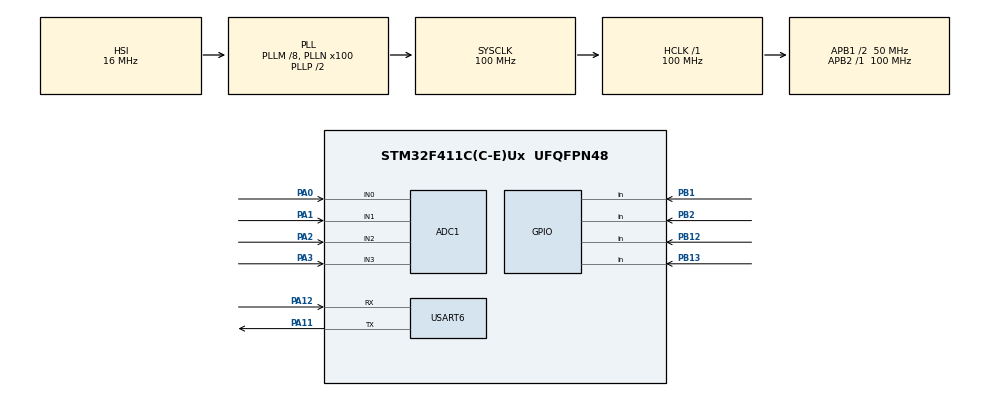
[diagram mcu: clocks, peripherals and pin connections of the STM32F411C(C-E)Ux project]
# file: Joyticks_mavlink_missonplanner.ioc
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ADC1.Channel-0\#ChannelRegularConversion=ADC_CHANNEL_0
ADC1.Channel-1\#ChannelRegularConversion=ADC_CHANNEL_1
ADC1.Channel-2\#ChannelRegularConversion=ADC_CHANNEL_2
ADC1.Channel-3\#ChannelRegularConversion=ADC_CHANNEL_3
ADC1.ContinuousConvMode=ENABLE
ADC1.DMAContinuousRequests=ENABLE
ADC1.NbrOfConversion=4
ADC1.NbrOfConversionFlag=1
ADC1.Rank-0\#ChannelRegularConversion=1
ADC1.Rank-1\#ChannelRegularConversion=2
ADC1.Rank-2\#ChannelRegularConversion=3
ADC1.Rank-3\#ChannelRegularConversion=4
ADC1.SamplingTime-0\#ChannelRegularConversion=ADC_SAMPLETIME_480CYCLES
ADC1.SamplingTime-1\#ChannelRegularConversion=ADC_SAMPLETIME_480CYCLES
ADC1.SamplingTime-2\#ChannelRegularConversion=ADC_SAMPLETIME_480CYCLES
ADC1.SamplingTime-3\#ChannelRegularConversion=ADC_SAMPLETIME_480CYCLES
ADC1.master=1
Dma.ADC1.0.Direction=DMA_PERIPH_TO_MEMORY
Dma.ADC1.0.FIFOMode=DMA_FIFOMODE_DISABLE
Dma.ADC1.0.Instance=DMA2_Stream0
Dma.ADC1.0.MemDataAlignment=DMA_MDATAALIGN_HALFWORD
Dma.ADC1.0.MemInc=DMA_MINC_ENABLE
Dma.ADC1.0.Mode=DMA_CIRCULAR
Dma.ADC1.0.PeriphDataAlignment=DMA_PDATAALIGN_HALFWORD
Dma.ADC1.0.PeriphInc=DMA_PINC_DISABLE
Dma.ADC1.0.Priority=DMA_PRIORITY_LOW
Dma.Request0=ADC1
Dma.Request1=USART6_TX
Dma.USART6_TX.1.Direction=DMA_MEMORY_TO_PERIPH
Dma.USART6_TX.1.FIFOMode=DMA_FIFOMODE_DISABLE
Dma.USART6_TX.1.Instance=DMA2_Stream6
Dma.USART6_TX.1.MemDataAlignment=DMA_MDATAALIGN_BYTE
Dma.USART6_TX.1.MemInc=DMA_MINC_ENABLE
Dma.USART6_TX.1.Mode=DMA_NORMAL
Dma.USART6_TX.1.PeriphDataAlignment=DMA_PDATAALIGN_BYTE
Dma.USART6_TX.1.PeriphInc=DMA_PINC_DISABLE
Dma.USART6_TX.1.Priority=DMA_PRIORITY_LOW
Mcu.Family=STM32F4
Mcu.Name=STM32F411C(C-E)Ux
Mcu.Package=UFQFPN48
NVIC.DMA2_Stream0_IRQn=true\:0\:0\:false\:false\:true\:false\:true\:true
NVIC.DMA2_Stream6_IRQn=true\:0\:0\:false\:false\:true\:false\:true\:true
NVIC.PriorityGroup=NVIC_PRIORITYGROUP_4
NVIC.TIM2_IRQn=true\:0\:0\:false\:false\:true\:true\:true\:true
NVIC.TIM3_IRQn=true\:0\:0\:false\:false\:true\:true\:true\:true
NVIC.USART6_IRQn=true\:0\:0\:false\:false\:true\:true\:true\:true
PA0-WKUP.Signal=ADCx_IN0
PA1.Signal=ADCx_IN1
PA11.Mode=Asynchronous
PA11.Signal=USART6_TX
PA12.Mode=Asynchronous
PA12.Signal=USART6_RX
PA13.Mode=Serial_Wire
PA13.Signal=SYS_JTMS-SWDIO
PA14.Mode=Serial_Wire
PA14.Signal=SYS_JTCK-SWCLK
PA2.Signal=ADCx_IN2
PA3.Signal=ADCx_IN3
PB1.GPIO_PuPd=GPIO_PULLUP
PB1.Signal=GPIO_Input
PB12.GPIO_PuPd=GPIO_PULLUP
PB12.Signal=GPIO_Input
PB13.GPIO_PuPd=GPIO_PULLUP
PB13.Signal=GPIO_Input
PB2.GPIO_PuPd=GPIO_PULLUP
PB2.Signal=GPIO_Input
PH0\ -\ OSC_IN.Mode=HSE-External-Oscillator
PH0\ -\ OSC_IN.Signal=RCC_OSC_IN
PH1\ -\ OSC_OUT.Mode=HSE-External-Oscillator
PH1\ -\ OSC_OUT.Signal=RCC_OSC_OUT
ProjectManager.HeapSize=0x200
ProjectManager.StackSize=0x400
ProjectManager.TargetToolchain=MDK-ARM V5.32
RCC.48MHZClocksFreq_Value=50000000
RCC.AHBFreq_Value=100000000
RCC.APB1CLKDivider=RCC_HCLK_DIV2
RCC.APB1Freq_Value=50000000
RCC.APB1TimFreq_Value=100000000
RCC.APB2Freq_Value=100000000
RCC.APB2TimFreq_Value=100000000
RCC.CortexFreq_Value=100000000
RCC.HCLKFreq_Value=100000000
RCC.HSE_VALUE=8000000
RCC.HSI_VALUE=16000000
RCC.LSE_VALUE=32768
RCC.PLLM=8
RCC.PLLN=100
RCC.SYSCLKFreq_VALUE=100000000
RCC.SYSCLKSource=RCC_SYSCLKSOURCE_PLLCLK
RCC.VCOOutputFreq_Value=200000000
SH.ADCx_IN0.0=ADC1_IN0,IN0
SH.ADCx_IN1.0=ADC1_IN1,IN1
SH.ADCx_IN2.0=ADC1_IN2,IN2
SH.ADCx_IN3.0=ADC1_IN3,IN3
TIM2.Period=4374
TIM2.Prescaler=79
TIM3.Period=6249
TIM3.Prescaler=7999
USART6.VirtualMode=VM_ASYNC
VP_TIM2_VS_ClockSourceINT.Mode=Internal
VP_TIM3_VS_ClockSourceINT.Mode=Internal
board=custom

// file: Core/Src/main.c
/* USER CODE BEGIN Header */
/**
  ******************************************************************************
  * @file           : main.c
  * @brief          : Main program body
  ******************************************************************************
  * @attention
  *
  * Copyright (c) 2025 STMicroelectronics.
  * All rights reserved.
  *
  * This software is licensed under terms that can be found in the LICENSE file
  * in the root directory of this software component.
  * If no LICENSE file comes with this software, it is provided AS-IS.
  *
  ******************************************************************************
  */
/* USER CODE END Header */
#include "main.h"

/* USER CODE BEGIN Includes */
#include "mavlink.h"
#include "mavlink_msg_rc_channels.h"
#include "ring.h"
#include "mavlink_tx.h"
#include "adc_uart_ring.h"
/* USER CODE END Includes */

/* USER CODE BEGIN PD */
#define MAP_PIN_TO_RC(x)  ((x) == GPIO_PIN_SET ? 2000 : 1000)
#define ADC_MIN 400
#define ADC_MAX 3600
#define DEADBAND 15
/* USER CODE END PD */

ADC_HandleTypeDef hadc1;
DMA_HandleTypeDef hdma_adc1;

TIM_HandleTypeDef htim2;
TIM_HandleTypeDef htim3;

UART_HandleTypeDef huart6;
DMA_HandleTypeDef hdma_usart6_tx;

void SystemClock_Config(void);
static void MX_GPIO_Init(void);
static void MX_DMA_Init(void);
static void MX_ADC1_Init(void);
static void MX_USART6_UART_Init(void);
static void MX_TIM2_Init(void);
static void MX_TIM3_Init(void);
/* USER CODE BEGIN PFP */
RINGBUF ring_tx;
uint8_t ring_buf_tx[256];
float roll = 0, pitch = 0, yaw = 0;
/* USER CODE END PFP */

int main(void)
{

  /* MCU Configuration--------------------------------------------------------*/

  /* Reset of all peripherals, Initializes the Flash interface and the Systick. */
  HAL_Init();

  /* Configure the system clock */
  SystemClock_Config();

  /* Initialize all configured peripherals */
  MX_GPIO_Init();
  MX_DMA_Init();
  MX_ADC1_Init();
  MX_USART6_UART_Init();
  MX_TIM2_Init();
  MX_TIM3_Init();
  /* USER CODE BEGIN 2 */
	HAL_ADC_Start_DMA(&hadc1, (uint32_t*)adc_joystick, 4);
	RINGBUF_Init(&ring_tx, ring_buf_tx, sizeof(ring_buf_tx));
  /* USER CODE END 2 */

  /* Infinite loop */
  /* USER CODE BEGIN WHILE */
  while (1)
  {
		static uint32_t last_heartbeat = 0;
		static uint32_t last_send = 0;
		static uint32_t last_att = 0;
		filter_adc_values();

		if (HAL_GetTick() - last_send >= 10)
    {
			send_rc_channels();
			last_send = HAL_GetTick();
    }
		if (HAL_GetTick() - last_heartbeat >= 1000)
    {
			send_heartbeat();
			last_heartbeat = HAL_GetTick();
    }

		if (HAL_GetTick() - last_att >= 100)
		{
			last_att = HAL_GetTick();
			roll += 0.01f;
			send_attitude(roll, pitch, yaw);
		}

    /* USER CODE END WHILE */

  }
}

void SystemClock_Config(void)
{
  RCC_OscInitTypeDef RCC_OscInitStruct = {0};
  RCC_ClkInitTypeDef RCC_ClkInitStruct = {0};

  /** Configure the main internal regulator output voltage
  */
  __HAL_RCC_PWR_CLK_ENABLE();
  __HAL_PWR_VOLTAGESCALING_CONFIG(PWR_REGULATOR_VOLTAGE_SCALE1);

  /** Initializes the RCC Oscillators according to the specified parameters
  * in the RCC_OscInitTypeDef structure.
  */
  RCC_OscInitStruct.OscillatorType = RCC_OSCILLATORTYPE_HSI;
  RCC_OscInitStruct.HSIState = RCC_HSI_ON;
  RCC_OscInitStruct.HSICalibrationValue = RCC_HSICALIBRATION_DEFAULT;
  RCC_OscInitStruct.PLL.PLLState = RCC_PLL_ON;
  RCC_OscInitStruct.PLL.PLLSource = RCC_PLLSOURCE_HSI;
  RCC_OscInitStruct.PLL.PLLM = 8;
  RCC_OscInitStruct.PLL.PLLN = 100;
  RCC_OscInitStruct.PLL.PLLP = RCC_PLLP_DIV2;
  RCC_OscInitStruct.PLL.PLLQ = 4;
  if (HAL_RCC_OscConfig(&RCC_OscInitStruct) != HAL_OK)
  {
    Error_Handler();
  }

  /** Initializes the CPU, AHB and APB buses clocks
  */
  RCC_ClkInitStruct.ClockType = RCC_CLOCKTYPE_HCLK|RCC_CLOCKTYPE_SYSCLK
                              |RCC_CLOCKTYPE_PCLK1|RCC_CLOCKTYPE_PCLK2;
  RCC_ClkInitStruct.SYSCLKSource = RCC_SYSCLKSOURCE_PLLCLK;
  RCC_ClkInitStruct.AHBCLKDivider = RCC_SYSCLK_DIV1;
  RCC_ClkInitStruct.APB1CLKDivider = RCC_HCLK_DIV2;
  RCC_ClkInitStruct.APB2CLKDivider = RCC_HCLK_DIV1;

  if (HAL_RCC_ClockConfig(&RCC_ClkInitStruct, FLASH_LATENCY_3) != HAL_OK)
  {
    Error_Handler();
  }
}

static void MX_ADC1_Init(void)
{

  ADC_ChannelConfTypeDef sConfig = {0};

  /** Configure the global features of the ADC (Clock, Resolution, Data Alignment and number of conversion)
  */
  hadc1.Instance = ADC1;
  hadc1.Init.ClockPrescaler = ADC_CLOCK_SYNC_PCLK_DIV4;
  hadc1.Init.Resolution = ADC_RESOLUTION_12B;
  hadc1.Init.ScanConvMode = ENABLE;
  hadc1.Init.ContinuousConvMode = ENABLE;
  hadc1.Init.DiscontinuousConvMode = DISABLE;
  hadc1.Init.ExternalTrigConvEdge = ADC_EXTERNALTRIGCONVEDGE_NONE;
  hadc1.Init.ExternalTrigConv = ADC_SOFTWARE_START;
  hadc1.Init.DataAlign = ADC_DATAALIGN_RIGHT;
  hadc1.Init.NbrOfConversion = 4;
  hadc1.Init.DMAContinuousRequests = ENABLE;
  hadc1.Init.EOCSelection = ADC_EOC_SINGLE_CONV;
  if (HAL_ADC_Init(&hadc1) != HAL_OK)
  {
    Error_Handler();
  }

  /** Configure for the selected ADC regular channel its corresponding rank in the sequencer and its sample time.
  */
  sConfig.Channel = ADC_CHANNEL_0;
  sConfig.Rank = 1;
  sConfig.SamplingTime = ADC_SAMPLETIME_480CYCLES;
  if (HAL_ADC_ConfigChannel(&hadc1, &sConfig) != HAL_OK)
  {
    Error_Handler();
  }

  /** Configure for the selected ADC regular channel its corresponding rank in the sequencer and its sample time.
  */
  sConfig.Channel = ADC_CHANNEL_1;
  sConfig.Rank = 2;
  if (HAL_ADC_ConfigChannel(&hadc1, &sConfig) != HAL_OK)
  {
    Error_Handler();
  }

  /** Configure for the selected ADC regular channel its corresponding rank in the sequencer and its sample time.
  */
  sConfig.Channel = ADC_CHANNEL_2;
  sConfig.Rank = 3;
  if (HAL_ADC_ConfigChannel(&hadc1, &sConfig) != HAL_OK)
  {
    Error_Handler();
  }

  /** Configure for the selected ADC regular channel its corresponding rank in the sequencer and its sample time.
  */
  sConfig.Channel = ADC_CHANNEL_3;
  sConfig.Rank = 4;
  if (HAL_ADC_ConfigChannel(&hadc1, &sConfig) != HAL_OK)
  {
    Error_Handler();
  }

}

static void MX_TIM2_Init(void)
{

  TIM_ClockConfigTypeDef sClockSourceConfig = {0};
  TIM_MasterConfigTypeDef sMasterConfig = {0};

  htim2.Instance = TIM2;
  htim2.Init.Prescaler = 79;
  htim2.Init.CounterMode = TIM_COUNTERMODE_UP;
  htim2.Init.Period = 4374;
  htim2.Init.ClockDivision = TIM_CLOCKDIVISION_DIV1;
  htim2.Init.AutoReloadPreload = TIM_AUTORELOAD_PRELOAD_DISABLE;
  if (HAL_TIM_Base_Init(&htim2) != HAL_OK)
  {
    Error_Handler();
  }
  sClockSourceConfig.ClockSource = TIM_CLOCKSOURCE_INTERNAL;
  if (HAL_TIM_ConfigClockSource(&htim2, &sClockSourceConfig) != HAL_OK)
  {
    Error_Handler();
  }
  sMasterConfig.MasterOutputTrigger = TIM_TRGO_RESET;
  sMasterConfig.MasterSlaveMode = TIM_MASTERSLAVEMODE_DISABLE;
  if (HAL_TIMEx_MasterConfigSynchronization(&htim2, &sMasterConfig) != HAL_OK)
  {
    Error_Handler();
  }

}

static void MX_TIM3_Init(void)
{

  TIM_ClockConfigTypeDef sClockSourceConfig = {0};
  TIM_MasterConfigTypeDef sMasterConfig = {0};

  htim3.Instance = TIM3;
  htim3.Init.Prescaler = 7999;
  htim3.Init.CounterMode = TIM_COUNTERMODE_UP;
  htim3.Init.Period = 6249;
  htim3.Init.ClockDivision = TIM_CLOCKDIVISION_DIV1;
  htim3.Init.AutoReloadPreload = TIM_AUTORELOAD_PRELOAD_DISABLE;
  if (HAL_TIM_Base_Init(&htim3) != HAL_OK)
  {
    Error_Handler();
  }
  sClockSourceConfig.ClockSource = TIM_CLOCKSOURCE_INTERNAL;
  if (HAL_TIM_ConfigClockSource(&htim3, &sClockSourceConfig) != HAL_OK)
  {
    Error_Handler();
  }
  sMasterConfig.MasterOutputTrigger = TIM_TRGO_RESET;
  sMasterConfig.MasterSlaveMode = TIM_MASTERSLAVEMODE_DISABLE;
  if (HAL_TIMEx_MasterConfigSynchronization(&htim3, &sMasterConfig) != HAL_OK)
  {
    Error_Handler();
  }

}

static void MX_USART6_UART_Init(void)
{

  huart6.Instance = USART6;
  huart6.Init.BaudRate = 115200;
  huart6.Init.WordLength = UART_WORDLENGTH_8B;
  huart6.Init.StopBits = UART_STOPBITS_1;
  huart6.Init.Parity = UART_PARITY_NONE;
  huart6.Init.Mode = UART_MODE_TX_RX;
  huart6.Init.HwFlowCtl = UART_HWCONTROL_NONE;
  huart6.Init.OverSampling = UART_OVERSAMPLING_16;
  if (HAL_UART_Init(&huart6) != HAL_OK)
  {
    Error_Handler();
  }

}

static void MX_DMA_Init(void)
{

  /* DMA controller clock enable */
  __HAL_RCC_DMA2_CLK_ENABLE();

  /* DMA interrupt init */
  /* DMA2_Stream0_IRQn interrupt configuration */
  HAL_NVIC_SetPriority(DMA2_Stream0_IRQn, 0, 0);
  HAL_NVIC_EnableIRQ(DMA2_Stream0_IRQn);
  /* DMA2_Stream6_IRQn interrupt configuration */
  HAL_NVIC_SetPriority(DMA2_Stream6_IRQn, 0, 0);
  HAL_NVIC_EnableIRQ(DMA2_Stream6_IRQn);

}

static void MX_GPIO_Init(void)
{
  GPIO_InitTypeDef GPIO_InitStruct = {0};

  /* GPIO Ports Clock Enable */
  __HAL_RCC_GPIOH_CLK_ENABLE();
  __HAL_RCC_GPIOA_CLK_ENABLE();
  __HAL_RCC_GPIOB_CLK_ENABLE();

  /*Configure GPIO pins : PB1 PB2 PB12 PB13 */
  GPIO_InitStruct.Pin = GPIO_PIN_1|GPIO_PIN_2|GPIO_PIN_12|GPIO_PIN_13;
  GPIO_InitStruct.Mode = GPIO_MODE_INPUT;
  GPIO_InitStruct.Pull = GPIO_PULLUP;
  HAL_GPIO_Init(GPIOB, &GPIO_InitStruct);

}

void Error_Handler(void)
{
  __disable_irq();
  while (1)
  {
  }
}
